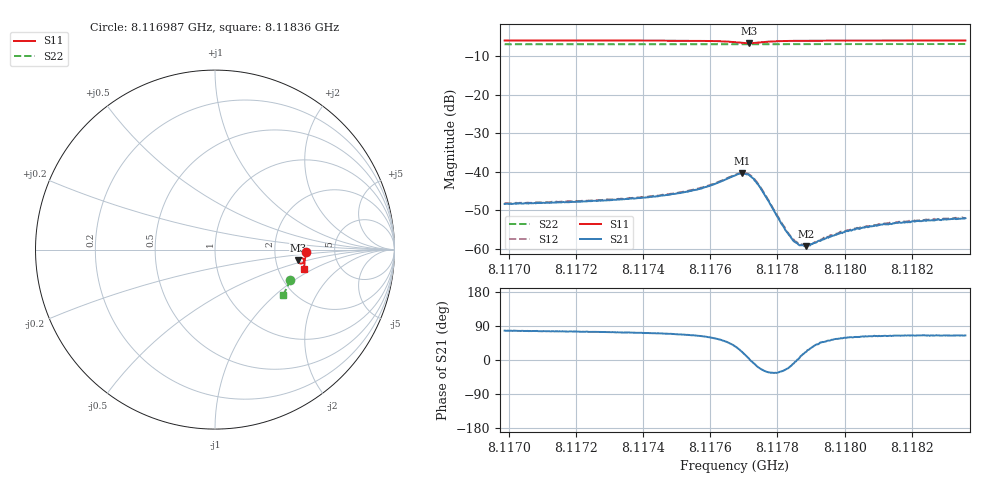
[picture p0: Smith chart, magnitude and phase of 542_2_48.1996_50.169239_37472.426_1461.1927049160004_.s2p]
#  HZ  S  RI  R  50.00
! Rohde & Schwarz Vector Network Analyzer
! Rohde-Schwarz,ZNB20-2Port,1311601062101988,3.16
! Created: UTC 3/20/2024, 12:00:19 PM
! freq[Hz]  re:S11  im:S11  re:S21  im:S21  re:S12  im:S12  re:S22  im:S22
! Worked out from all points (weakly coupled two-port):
!   401 points, 8.116987 GHz to 8.11836 GHz, reference 50 ohm
!   highest |S21| = -40.38 dB at 8.117694 GHz (marker M1); lowest = -59.3 dB at 8.117886 GHz (marker M2)
!   lowest |S11| = -6.6 dB at 8.117715 GHz (marker M3), VSWR 2.75, Z = 134 - j20.6 ohm
!   |S11| at or under -10 dB: nowhere
!   |S22| runs from -6.9 to -6.8 dB; largest |S21 - S12| = 0.00031
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8.1169873e9  0.5064 -0.0148  0.000829 0.00373  0.000893 0.0038  0.419 -0.1675
8.1172172e9  0.505 -0.0331  0.00111 0.00394  0.00116 0.00403  0.4135 -0.1827
8.1173475e9  0.5035 -0.0441  0.00133 0.00423  0.00138 0.00425  0.4099 -0.1911
8.117447e9  0.5018 -0.0533  0.00164 0.00457  0.00173 0.00458  0.4072 -0.1975
8.1175671e9  0.4969 -0.0665  0.00265 0.00535  0.00273 0.00544  0.4034 -0.2053
8.1176151e9  0.4917 -0.073  0.00382 0.00584  0.00394 0.00594  0.4018 -0.2087
8.1176735e9  0.4755 -0.0773  0.0072 0.00529  0.00738 0.00539  0.3995 -0.212
8.117694e9  0.4666 -0.0719  0.00888 0.00356  0.00896 0.00363  0.3984 -0.2129
8.1177146e9  0.4632 -0.0601  0.0091 0.000649  0.00924 0.000605  0.3978 -0.2136
8.1177318e9  0.4681 -0.0506  0.00758 -0.00136  0.00783 -0.00155  0.3976 -0.2142
8.1177489e9  0.4761 -0.0464  0.00569 -0.00242  0.00581 -0.00251  0.3977 -0.2151
8.1178175e9  0.4949 -0.0553  0.00172 -0.000921  0.00175 -0.000951  0.3964 -0.2198
8.1178416e9  0.4967 -0.0595  0.00133 -0.000346  0.00135 -0.000351  0.3956 -0.2214
8.1178621e9  0.4976 -0.0628  0.00114 4.54e-05  0.00115 7.13e-05  0.395 -0.2229
8.1178862e9  0.4984 -0.0661  0.001 0.000405  0.00104 0.000443  0.3943 -0.2244
8.1179033e9  0.4985 -0.0683  0.000957 0.000641  0.000972 0.000624  0.3938 -0.2256
8.1179651e9  0.4987 -0.0753  0.000879 0.00118  0.000921 0.00122  0.3917 -0.2295
8.1180097e9  0.4985 -0.0797  0.000854 0.00146  0.000901 0.00149  0.3902 -0.2323
8.1180577e9  0.4979 -0.084  0.000888 0.00165  0.000911 0.0017  0.3886 -0.2352
8.1181332e9  0.497 -0.0907  0.000942 0.00188  0.000945 0.00195  0.3862 -0.2399
8.1182429e9  0.4954 -0.0998  0.000989 0.00209  0.00106 0.00215  0.3821 -0.2466
8.1183596e9  0.4935 -0.1089  0.00106 0.00226  0.00109 0.00222  0.3779 -0.2537
